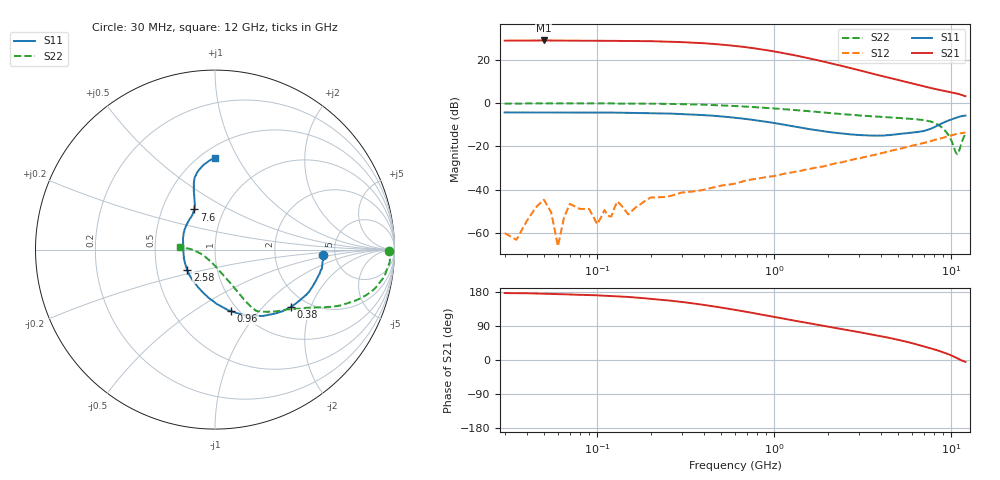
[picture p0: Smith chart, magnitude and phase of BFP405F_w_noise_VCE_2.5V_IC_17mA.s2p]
! Infineon Technologies  Discrete & RF Semiconductors
! BFP405F
! VCE =  2.5 V,  IC =  17 mA
! Common Emitter S-Parameters:  Nov 2015
# GHz  S  MA  R  50
!  f  S11  S21  S12  S22
! GHz  MAG  ANG  MAG  ANG  MAG  ANG  MAG  ANG
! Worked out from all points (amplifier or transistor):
!   239 points, 30 MHz to 12 GHz, reference 50 ohm
!   highest |S21| = 28.8 dB at 50 MHz (marker M1)
!   |S21| within 3 dB of that: start of sweep to 677 MHz
!   unconditionally stable (mu >= 1): 59.21 MHz to 60.77 MHz; 1.794 GHz to end of sweep
!   at 300 MHz: K = 0.33, MSG = 34.7 dB, |S12| = -41.3 dB
!   at 1.88 GHz: K = 1.04, MAG = 23.0 dB, |S12| = -29.3 dB
!   at 12 GHz: K = 1.38, MAG = 4.7 dB, |S12| = -13.6 dB
!   lowest NFmin = 2.08 dB at 450 MHz
!   S11 on the Smith chart (normalised r, x): 30 MHz: 4.01, -0.39; 380 MHz: 1.66, -1.47; 960 MHz: 0.92, -0.72; 2.58 GHz: 0.72, -0.17; 7.6 GHz: 0.72, +0.35; 12 GHz: 0.59, +0.81
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0.03  0.604 -2.9  27.33 176.6  0.001 -148.9  0.9667 -0.4
0.035  0.6038 -3.3  27.35 176.3  0.0007 112.3  0.9702 -0.6
0.05  0.6062 -5.6  27.55 174.8  0.0059 87.3  0.9813 -1.3
0.06  0.603 -6.3  27.31 174.0  0.0005 8.4  0.974 -1.7
0.07  0.6036 -7.0  27.28 172.8  0.0047 124.3  0.9792 -2.1
0.085  0.6039 -8.9  27.18 171.7  0.0036 110.6  0.9776 -2.8
0.1  0.6046 -10.2  27.06 170.6  0.0016 72.6  0.9764 -3.5
0.13  0.5979 -13.2  26.93 167.9  0.0054 90.6  0.9727 -4.7
0.15  0.5916 -15.6  26.9 166.4  0.0027 71.7  0.9675 -5.5
0.24  0.5739 -24.2  25.95 158.1  0.0068 79.0  0.9547 -9.0
0.3  0.554 -29.9  25.23 153.1  0.0086 73.3  0.9372 -11.1
0.38  0.5297 -36.9  24.03 146.9  0.0096 76.1  0.9169 -13.6
0.6  0.4567 -54.0  20.62 132.2  0.0138 71.5  0.8493 -18.9
0.7  0.4254 -60.3  19.19 126.8  0.0165 71.5  0.8217 -20.6
0.96  0.3542 -75.5  15.82 115.2  0.0203 69.9  0.7558 -24.5
1.3  0.2846 -92.8  12.57 103.7  0.0257 70.1  0.6874 -27.9
1.64  0.2431 -107.8  10.29 95.4  0.031 70.1  0.6362 -30.5
2.58  0.1911 -143.9  6.64 79.1  0.0461 68.2  0.5411 -37.9
4.5  0.1821 167.5  3.754 58.0  0.0776 62.3  0.467 -48.0
7.6  0.2515 117.3  2.224 31.2  0.1313 49.7  0.3749 -57.9
10.8  0.4647 99.5  1.637 4.7  0.194 31.0  0.0659 -133.2
12  0.51 89.7  1.429 -5.1  0.209 24.2  0.1967 176.2
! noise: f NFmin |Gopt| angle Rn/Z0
0.45  2.08  0.07  0  0.34
0.9  2.1  0.06  2  0.36
1.5  2.15  0.05  1  0.23
1.9  2.21  0.03  -15  0.22
2.4  2.35  0.02  -69  0.34
3  2.44  0.03  -103  0.11
3.5  2.5  0.05  -109  0.28
4.5  2.72  0.11  -100  0.41
5.5  3  0.19  -88  0.37
